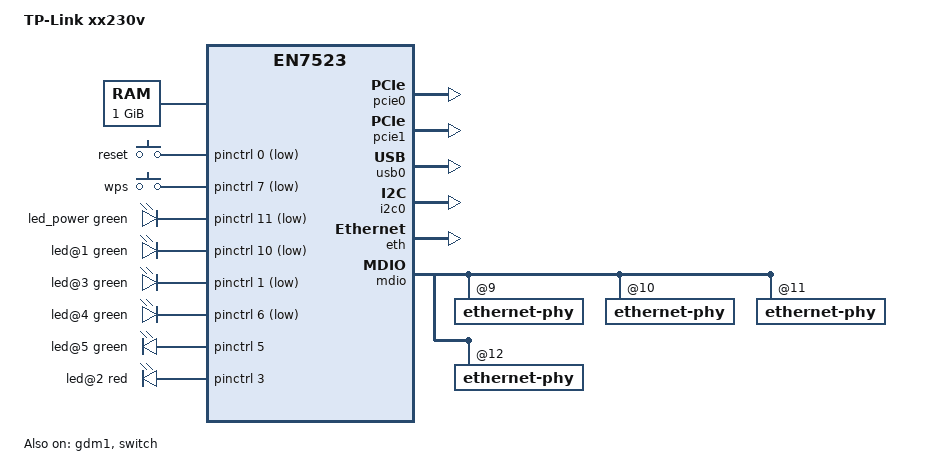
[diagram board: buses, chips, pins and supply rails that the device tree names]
// SPDX-License-Identifier: GPL-2.0-or-later OR MIT
/dts-v1/;

/* Bootloader installs ATF here */
/memreserve/ 0x80000000 0x200000;

#include <dt-bindings/leds/common.h>
#include <dt-bindings/gpio/gpio.h>
#include <dt-bindings/input/input.h>
#include "en7523.dtsi"

/ {
	model = "TP-Link xx230v";
	compatible = "tplink,xx230v", "airoha,en7523";

	chosen {
		bootargs = "console=ttyS0,115200 earlycon";
		stdout-path = "serial0:115200n8";
	};

	aliases {
		serial0 = &uart1;
		led-boot = &led_power;
		led-failsafe = &led_power;
		led-upgrade = &led_power;
		led-running = &led_power;
	};

	memory@80000000 {
		device_type = "memory";
		reg = <0x80000000 0x40000000>;
	};

	keys {
		compatible = "gpio-keys-polled";
		poll-interval = <100>;

		reset {
			label = "reset";
			linux,code = <KEY_RESTART>;
			gpios = <&pinctrl 0 GPIO_ACTIVE_LOW>;
			debounce-interval = <60>;
		};

		wps {
			label = "wps";
			linux,code = <KEY_WPS_BUTTON>;
			gpios = <&pinctrl 7 GPIO_ACTIVE_LOW>;
			debounce-interval = <60>;
		};
	};

	leds {
		compatible = "gpio-leds";

		// Power
		led_power: led@0 {
			color = <LED_COLOR_ID_GREEN>;
			function = LED_FUNCTION_STATUS;
			function-enumerator = <0>;
			gpios = <&pinctrl 11 GPIO_ACTIVE_LOW>;
		};

		// GPON
		led@1 {
			color = <LED_COLOR_ID_GREEN>;
			function = LED_FUNCTION_STATUS;
			function-enumerator = <1>;
			gpios = <&pinctrl 10 GPIO_ACTIVE_LOW>;
		};

		// internet
		led@3 {
			color = <LED_COLOR_ID_GREEN>;
			function = LED_FUNCTION_STATUS;
			function-enumerator = <3>;
			gpios = <&pinctrl 1 GPIO_ACTIVE_LOW>;
		};

		// Wireless
		led@4 {
			color = <LED_COLOR_ID_GREEN>;
			function = LED_FUNCTION_WLAN;
			function-enumerator = <0>;
			gpios = <&pinctrl 6 GPIO_ACTIVE_LOW>;
		};

		// Phone
		led@5 {
			color = <LED_COLOR_ID_GREEN>;
			function = LED_FUNCTION_STATUS;
			function-enumerator = <4>;
			gpios = <&pinctrl 5 GPIO_ACTIVE_HIGH>;
		};

		// LOS
		led@2 {
			color = <LED_COLOR_ID_RED>;
			function = LED_FUNCTION_STATUS;
			function-enumerator = <0>;
			gpios = <&pinctrl 3 GPIO_ACTIVE_HIGH>;
		};
	};
};

&pinctrl {
	gpio-ranges = <&pinctrl 0 0 32>;
};

&nand {
	partitions {
		compatible = "fixed-partitions";
		#address-cells = <1>;
		#size-cells = <1>;

		partition@0 {
			label = "bootloader";
			reg = <0x00000 0x80000>;
			read-only;
		};

		// filled with 0xff
		partition@80000 {
			label = "romfile";
			reg = <0x80000 0xa0000>;
			read-only;
		};

		partition@a0000 {
			label = "misc";
			reg = <0x0a0000 0x1a0000>;
			read-only;

			nvmem-layout {
				compatible = "fixed-layout";
				#address-cells = <1>;
				#size-cells = <1>;

				switch_macaddr: macaddr@4f100 {
					#nvmem-cell-cells = <1>;
					compatible = "mac-base";
					reg = <0x4f100 0x6>;
				};

				wifi_macaddr: macaddr@4f1e0 {
					#nvmem-cell-cells = <1>;
					compatible = "mac-base";
					reg = <0x4f1e0 0x6>;
				};

				gpon_serial_number: gpon@4c000 {
					#nvmem-cell-cells = <1>;
					reg = <0x4c000 0x3f00>;
				};

				eeprom0: eeprom@80000 {
					reg = <0x80000 0xe00>;
				};
			};
		};

		partition@1a0000 {
			label = "kernel";
			reg = <0x01a0000 0x1000000>;
		};

		partition@11a0000 {
			label = "rootfs";
			reg = <0x11a0000 0x4e60000>;
		};

		/* reserved for bad block table */
		reserved_bmt@3fe0000 {
			label = "reserved_bmt";
			reg = <0x3fe0000 0x4000000>;
			read-only;
		};
	};
};

&pcie0 {
	status = "okay";
};

&pcie1 {
	status = "okay";

	pcie@1,0 {
		reg = <0x00000800 0 0 0 0>;
		#address-cells = <3>;
		#size-cells = <2>;

		mt7915@0,0 {
			reg = <0x0000 0 0 0 0>;
			#address-cells = <1>;
			#size-cells = <0>;
			nvmem-cells = <&eeprom0>;
			nvmem-cell-names = "eeprom";
			airoha,npu = <&npu>;
			airoha,eth = <&eth>;

			// 2.4 GHz
			band@0 {
				reg = <0>;
				nvmem-cells = <&wifi_macaddr 0>;
				nvmem-cell-names = "mac-address";
			};

			// 5 GHz
			band@1 {
				reg = <1>;
				nvmem-cells = <&wifi_macaddr 2>;
				nvmem-cell-names = "mac-address";
			};
		};
	};
};

&usb0 {
	status = "okay";
};

&i2c0 {
	status = "okay";
};

&npu {
	// status = "okay";
};

&eth {
	status = "okay";
};

&gdm1 {
	status = "okay";

	nvmem-cells = <&switch_macaddr 0>;
	nvmem-cell-names = "mac-address";
};

&switch {
	status = "okay";
	ports {
		port@1 {
			label = "lan1";
			status = "okay";
		};

		port@2 {
			label = "lan2";
			status = "okay";
		};

		port@3 {
			label = "lan3";
			status = "okay";
		};

		port@4 {
			label = "wan";
			status = "okay";
		};

		port@6 {
			nvmem-cells = <&switch_macaddr 0>;
			nvmem-cell-names = "mac-address";
		};
	};

	mdio {
		ethernet-phy@9 {
			leds {
				led0@0 {
					status = "okay";
				};
			};
		};

		ethernet-phy@10 {
			leds {
				led0@0 {
					status = "okay";
				};
			};
		};

		ethernet-phy@11 {
			leds {
				led0@0 {
					status = "okay";
				};
			};
		};

		ethernet-phy@12 {
			leds {
				led0@0 {
					status = "okay";
					function = LED_FUNCTION_WAN;
				};
			};
		};
	};
};
